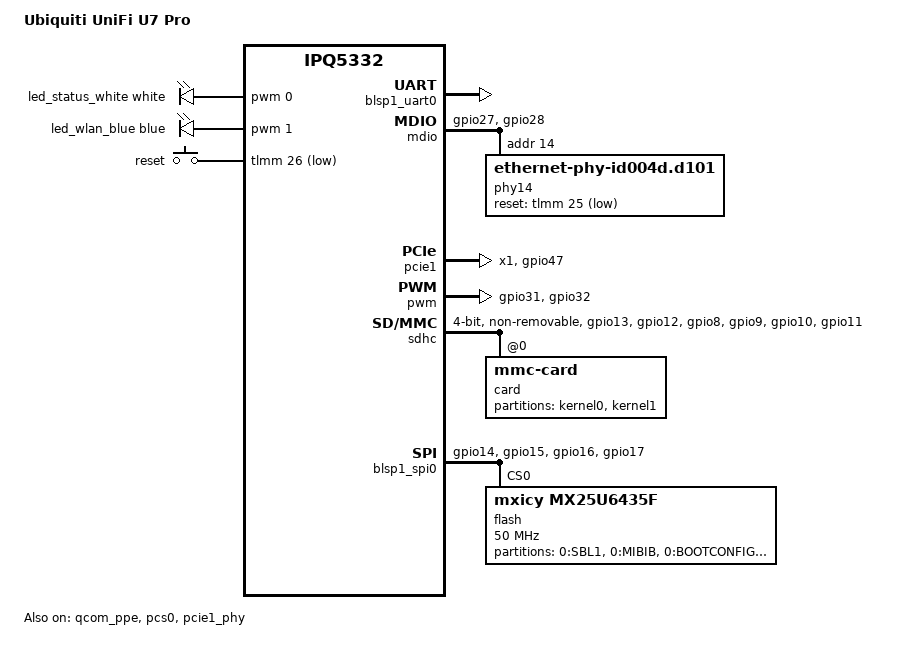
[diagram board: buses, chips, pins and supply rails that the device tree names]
/dts-v1/;

#include <arm64/qcom/ipq5332.dtsi>
#include <dt-bindings/gpio/gpio.h>
#include <dt-bindings/input/input.h>
#include <dt-bindings/leds/common.h>

/ {
	model = "Ubiquiti UniFi U7 Pro";
	compatible = "ubnt,u7-pro", "qcom,ipq5332";

	aliases {
		serial0 = &blsp1_uart0;
		ethernet1 = &xgmac1;
		led-boot = &led_status_white;
		led-failsafe = &led_status_white;
		led-running = &led_status_white;
		led-upgrade = &led_status_white;
	};

	chosen {
		bootargs = "console=ttyMSM0,115200n8";
		bootargs-append = " root=/dev/fit0 rootwait";
		rootdisk = <&kernel0>;
		stdout-path = "serial0:115200n8";
	};

	pwmleds {
		compatible = "pwm-leds";

		led_status_white: led-0 {
			color = <LED_COLOR_ID_WHITE>;
			function = LED_FUNCTION_STATUS;
			pwms = <&pwm 0 1966050 0>;
			max-brightness = <255>;
		};

		led_wlan_blue: led-1 {
			color = <LED_COLOR_ID_BLUE>;
			function = LED_FUNCTION_WLAN;
			pwms = <&pwm 1 1966050 0>;
			max-brightness = <255>;
		};
	};

	keys {
		compatible = "gpio-keys";

		pinctrl-0 = <&button_pins>;
		pinctrl-names = "default";

		reset-button {
			label = "reset";
			linux,code = <KEY_RESTART>;
			gpios = <&tlmm 26 GPIO_ACTIVE_LOW>;
			debounce-interval = <60>;
		};
	};
};

&blsp1_uart0 {
	pinctrl-0 = <&serial_0_pins>;
	pinctrl-names = "default";
	status = "okay";
};

&sleep_clk {
	clock-frequency = <32000>;
};

&xo_board {
	clock-frequency = <24000000>;
};

&qcom_ppe {
	status = "okay";

	ethernet-ports {
		#address-cells = <1>;
		#size-cells = <0>;

		xgmac1: port@1 {
			reg = <1>;
			phy-mode = "2500base-x";
			managed = "in-band-status";
			label = "lan";
			phy-handle = <&phy14>;
			pcs-handle = <&pcs0_ch0>;
			local-mac-address = [00 00 00 00 00 00];
			clocks = <&nsscc NSS_CC_PORT1_MAC_CLK>,
				 <&nsscc NSS_CC_PORT1_RX_CLK>,
				 <&nsscc NSS_CC_PORT1_TX_CLK>;
			clock-names = "mac",
				      "rx",
				      "tx";
			resets = <&nsscc NSS_CC_PORT1_MAC_CLK_ARES>,
				 <&nsscc NSS_CC_PORT1_RX_CLK_ARES>,
				 <&nsscc NSS_CC_PORT1_TX_CLK_ARES>;
			reset-names = "mac",
				      "rx",
				      "tx";
		};
	};
};

&pcs0 {
	status = "okay";
};

&mdio {
	status = "okay";

	pinctrl-names = "default";
	pinctrl-0 = <&mdio1_pins>;

	phy14: ethernet-phy@e {
		compatible = "ethernet-phy-id004d.d101";
		reg = <14>;
		reset-gpios = <&tlmm 25 GPIO_ACTIVE_LOW>;
		reset-assert-us = <10000>;
		reset-deassert-us = <150000>;
	};
};

&pcie0 {
	status = "disabled";
};

&pcie1 {
	status = "okay";
	num-lanes = <1>;

	perst-gpios = <&tlmm 47 GPIO_ACTIVE_LOW>;
	wake-gpios = <&tlmm 48 GPIO_ACTIVE_LOW>;
	pinctrl-names = "default";
	pinctrl-0 = <&pcie1_pins>;

	pcie@0 {
		wifi@0,0 {
			reg = <0x00010000 0 0 0 0>;

			qcom,calibration-variant = "Ubiquiti-U7-Pro-5G-6G";
			qcom,split-phy;
		};
	};
};

&pcie2 {
	status = "disabled";
};

&pcie0_phy {
	status = "disabled";
};

&pcie1_phy {
	reg = <0x004b1000 0x800>;
	num-lanes = <1>;

	qti,multiplexed-phy;
	phy-ahb-shared-reset;

	status = "okay";
};

&pcie2_phy {
	status = "disabled";
};

&pwm {
	pinctrl-names = "default";
	pinctrl-0 = <&pwm_pins>;
	status = "okay";
};

&sdhc {
	#address-cells = <1>;
	#size-cells = <0>;
	bus-width = <4>;
	max-frequency = <192000000>;
	mmc-ddr-1_8v;
	mmc-hs200-1_8v;
	non-removable;
	pinctrl-0 = <&sdc_default_state>;
	pinctrl-names = "default";
	status = "okay";

	card@0 {
		compatible = "mmc-card";
		reg = <0>;

		block {
			compatible = "block-device";

			partitions {
				kernel0: block-partition-kernel0 {
					partname = "kernel0";
				};

				kernel1: block-partition-kernel1 {
					partname = "kernel1";
				};
			};
		};
	};
};

&blsp1_spi0 {
	pinctrl-0 = <&spi_0_data_clk_pins &spi_0_cs_pins>;
	pinctrl-names = "default";
	status = "okay";

	flash@0 {
		compatible = "mxicy,mx25u6435f", "jedec,spi-nor";
		reg = <0>;
		spi-max-frequency = <50000000>;

		partitions {
			compatible = "fixed-partitions";
			#address-cells = <1>;
			#size-cells = <1>;

			partition@0 {
				label = "0:SBL1";
				reg = <0x00 0x80000>;
				read-only;
			};

			partition@80000 {
				label = "0:MIBIB";
				reg = <0x80000 0x10000>;
				read-only;
			};

			partition@90000 {
				label = "0:BOOTCONFIG";
				reg = <0x90000 0x10000>;
				read-only;
			};

			partition@a0000 {
				label = "0:QSEE";
				reg = <0xa0000 0x170000>;
				read-only;
			};

			partition@210000 {
				label = "0:DEVCFG";
				reg = <0x210000 0x10000>;
				read-only;
			};

			partition@220000 {
				label = "0:TME";
				reg = <0x220000 0x20000>;
				read-only;
			};

			partition@240000 {
				label = "0:CDT";
				reg = <0x240000 0x10000>;
				read-only;
			};

			partition@250000 {
				label = "0:APPSBLENV";
				reg = <0x250000 0x10000>;
			};

			partition@260000 {
				label = "0:APPSBL";
				reg = <0x260000 0xa0000>;
				read-only;
			};

			partition@300000 {
				label = "0:ART";
				reg = <0x300000 0x100000>;
				read-only;
			};

			partition@400000 {
				label = "0:EEPROM";
				reg = <0x400000 0x10000>;
				read-only;
			};
		};
	};
};

&tlmm {
	button_pins: button-state {
		pins = "gpio26";
		function = "gpio";
		drive-strength = <8>;
		bias-pull-up;
	};

	mdio1_pins: mdio1-state {
		mux_0 {
			pins = "gpio27";
			function = "mdc1";
			drive-strength = <8>;
			bias-disable;
		};

		mux_1 {
			pins = "gpio28";
			function = "mdio1";
			drive-strength = <8>;
			bias-pull-up;
		};
	};

	pcie0_pins: pci0-pinmux {
		pins = "gpio38";
		function = "gpio";
		drive-strength = <8>;
		bias-pull-up;
		output-high;
	};

	pcie1_pins: pci1-pinmux {
		pins = "gpio47";
		function = "gpio";
		drive-strength = <8>;
		bias-pull-up;
		output-high;
	};

	pcie2_pins: pci2-pinmux {
		pins = "gpio44";
		function = "gpio";
		drive-strength = <8>;
		bias-pull-up;
		output-high;
	};

	pwm_pins: pwm-pinmux {
		pins = "gpio31", "gpio32";
		function = "pwm1";
		drive-strength = <8>;
	};

	spi_0_data_clk_pins: spi-0-data-clk-state {
		pins = "gpio14", "gpio15", "gpio16";
		function = "blsp0_spi";
		drive-strength = <2>;
		bias-pull-down;
	};

	spi_0_cs_pins: spi-0-cs-state {
		pins = "gpio17";
		function = "blsp0_spi";
		drive-strength = <2>;
		bias-pull-up;
	};

	sdc_default_state: sdc-default-state {
		clk-pins {
			pins = "gpio13";
			function = "sdc_clk";
			drive-strength = <8>;
			bias-disable;
		};

		cmd-pins {
			pins = "gpio12";
			function = "sdc_cmd";
			drive-strength = <8>;
			bias-pull-up;
		};

		data-pins {
			pins = "gpio8", "gpio9", "gpio10", "gpio11";
			function = "sdc_data";
			drive-strength = <8>;
			bias-pull-up;
		};
	};
};
